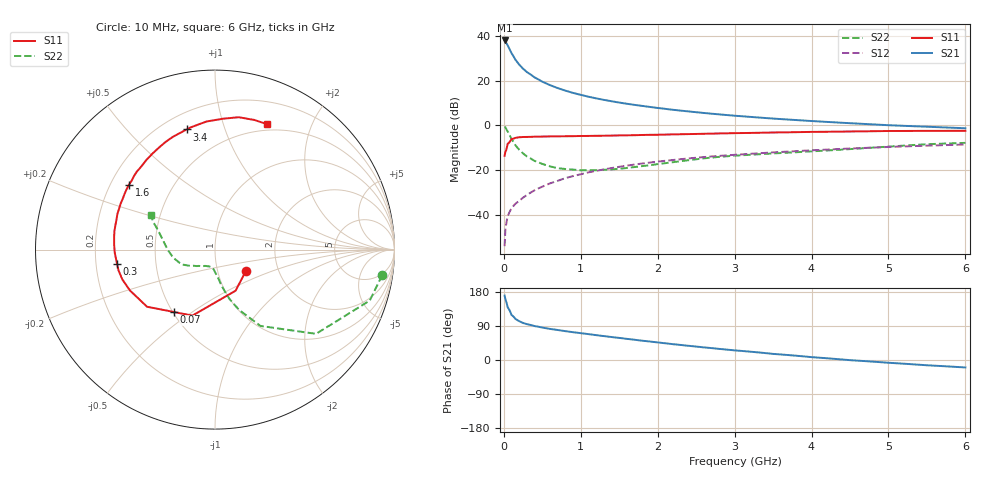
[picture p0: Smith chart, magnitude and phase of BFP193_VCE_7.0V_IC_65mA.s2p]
! Infineon Technologies  Discrete & RF Semiconductors
! BFP193
! VCE =  7.0 V,  IC =  65 mA
! Common Emitter S-Parameters:  Jan 2017
# GHz  S  MA  R  50
!  f  S11  S21  S12  S22
! GHz  MAG  ANG  MAG  ANG  MAG  ANG  MAG  ANG
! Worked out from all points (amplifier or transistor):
!   77 points, 10 MHz to 6 GHz, reference 50 ohm
!   highest |S21| = 37.9 dB at 10 MHz (marker M1)
!   |S21| within 3 dB of that: start of sweep to 61.79 MHz
!   unconditionally stable (mu >= 1): 513.8 MHz to 2.376 GHz
!   at 130 MHz: K = 0.65, MSG = 33.2 dB, |S12| = -35.8 dB
!   at 2.2 GHz: K = 1.01, MAG = 10.6 dB, |S12| = -15.5 dB
!   at 6 GHz: K = 0.92, MSG = 3.6 dB, |S12| = -8.5 dB
!   S11 on the Smith chart (normalised r, x): 10 MHz: 1.36, -0.35; 70 MHz: 0.51, -0.43; 300 MHz: 0.29, -0.06; 1.6 GHz: 0.28, +0.31; 3.4 GHz: 0.29, +0.75; 6 GHz: 0.43, +1.41
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0.01  0.2096 -35.3  78.95 169.9  0.002 80.4  0.9422 -8.7
0.02  0.2562 -63.4  76.59 161.0  0.0047 83.2  0.9079 -18.2
0.05  0.3887 -108.9  61.17 138.9  0.0093 63.3  0.733 -39.8
0.07  0.4155 -123.1  52.38 132.7  0.0112 62.1  0.63 -45.8
0.1  0.4946 -139.9  40.92 118.8  0.014 60.9  0.4951 -59.2
0.15  0.5257 -154.3  29.41 108.6  0.0177 61.0  0.3608 -68.3
0.2  0.5422 -162.1  22.75 102.3  0.0206 63.2  0.2847 -73.8
0.25  0.55 -167.9  18.47 97.7  0.0243 64.6  0.2363 -77.0
0.3  0.5516 -171.9  15.51 94.6  0.0278 65.9  0.2018 -79.9
0.4  0.5586 -178.1  11.79 89.5  0.0355 68.0  0.1607 -83.5
0.5  0.5628 177.1  9.467 85.6  0.0427 69.1  0.1376 -87.3
0.6  0.5664 172.9  7.934 82.1  0.0506 69.2  0.1214 -90.8
0.7  0.5697 169.6  6.81 79.2  0.0577 69.8  0.1108 -93.5
0.8  0.5714 166.1  5.975 76.1  0.0664 69.9  0.106 -96.7
1.1  0.5809 156.9  4.375 68.3  0.0891 67.5  0.0993 -106.9
1.6  0.6003 142.9  3.041 55.8  0.1261 61.9  0.1119 -124.7
2.1  0.6228 129.8  2.337 44.1  0.1619 55.6  0.1433 -140.6
3.1  0.674 108.7  1.596 23.8  0.2256 42.9  0.2153 -161.6
3.4  0.6877 103.3  1.461 18.2  0.2432 39.4  0.2307 -167.1
4.1  0.7174 92.3  1.223 6.1  0.2823 31.2  0.2685 178.2
5.1  0.7494 78.6  0.993 -8.5  0.3336 19.6  0.3441 160.0
6  0.7568 67.3  0.862 -19.7  0.3741 9.5  0.4067 151.4
